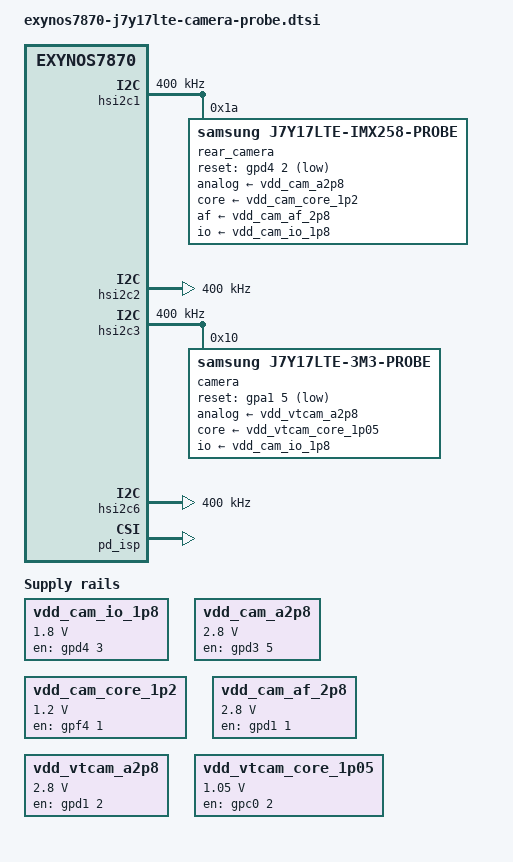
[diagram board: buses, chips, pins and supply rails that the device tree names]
// SPDX-License-Identifier: GPL-2.0-only
/*
 * J7Y17LTE board foundation, reviewed against downstream commit
 * 117a2f271e0f2db2d8743d4a4ec77a8a9876cf82.
 * Experimental board qualification, initially no streaming.
 */

/ {
	vdd_cam_io_1p8: regulator-camera-io {
		compatible = "regulator-fixed";
		regulator-name = "VDD_CAM_IO_1P8";
		regulator-min-microvolt = <1800000>;
		regulator-max-microvolt = <1800000>;
		gpio = <&gpd4 3 GPIO_ACTIVE_HIGH>;
		enable-active-high;
	};

	vdd_cam_a2p8: regulator-camera-rear-analog {
		compatible = "regulator-fixed";
		regulator-name = "VDD_CAM_SENSOR_A2P8";
		regulator-min-microvolt = <2800000>;
		regulator-max-microvolt = <2800000>;
		gpio = <&gpd3 5 GPIO_ACTIVE_HIGH>;
		enable-active-high;
	};

	vdd_cam_core_1p2: regulator-camera-rear-core {
		compatible = "regulator-fixed";
		regulator-name = "VDD_CAM_1P2";
		regulator-min-microvolt = <1200000>;
		regulator-max-microvolt = <1200000>;
		gpio = <&gpf4 1 GPIO_ACTIVE_HIGH>;
		enable-active-high;
	};

	vdd_cam_af_2p8: regulator-camera-autofocus {
		compatible = "regulator-fixed";
		regulator-name = "VDD_CAM_AF_2P8";
		regulator-min-microvolt = <2800000>;
		regulator-max-microvolt = <2800000>;
		gpio = <&gpd1 1 GPIO_ACTIVE_HIGH>;
		enable-active-high;
	};

	vdd_vtcam_a2p8: regulator-camera-front-analog {
		compatible = "regulator-fixed";
		regulator-name = "VDD_VTCAM_A2P8";
		regulator-min-microvolt = <2800000>;
		regulator-max-microvolt = <2800000>;
		gpio = <&gpd1 2 GPIO_ACTIVE_HIGH>;
		enable-active-high;
	};

	vdd_vtcam_core_1p05: regulator-camera-front-core {
		compatible = "regulator-fixed";
		regulator-name = "VDD_VTCAM_1P05";
		regulator-min-microvolt = <1050000>;
		regulator-max-microvolt = <1050000>;
		gpio = <&gpc0 2 GPIO_ACTIVE_HIGH>;
		enable-active-high;
	};
};

/* Physical controller addresses, not downstream numeric aliases. */
&hsi2c1 { /* 0x138a0000: rear IMX258 at 0x1a */
	clock-frequency = <400000>;
	status = "okay";
};

&hsi2c2 { /* 0x138b0000: DW9807 at 0x0c, rear EEPROM at 0x58 */
	clock-frequency = <400000>;
	status = "okay";
};

&hsi2c3 { /* 0x138c0000: front S5K3M3 at 0x10 */
	clock-frequency = <400000>;
	status = "okay";
};

&hsi2c6 { /* 0x13960000: front EEPROM at 0x51 */
	clock-frequency = <400000>;
	status = "okay";
};

&hsi2c1 {
	rear_camera: camera@1a {
		compatible = "samsung,j7y17lte-imx258-probe";
		reg = <0x1a>;
		reset-gpios = <&gpd4 2 GPIO_ACTIVE_LOW>;
		analog-supply = <&vdd_cam_a2p8>;
		core-supply = <&vdd_cam_core_1p2>;
		af-supply = <&vdd_cam_af_2p8>;
		focus-i2c = <&hsi2c2>;
		io-supply = <&vdd_cam_io_1p8>;
		clocks = <&cmu_mif CLK_GOUT_MIF_CMU_ISP_SENSOR0>;
		assigned-clocks = <&cmu_mif CLK_MOUT_MIF_CMU_ISP_SENSOR0>,
				  <&cmu_mif CLK_DOUT_MIF_CMU_ISP_SENSOR0>;
		assigned-clock-parents = <&oscclk>, <0>;
		assigned-clock-rates = <0>, <26000000>;
		pinctrl-names = "default", "active";
		pinctrl-0 = <&fimc_is_mclk0_in>;
		pinctrl-1 = <&fimc_is_mclk0_fn>;
	};
};

&hsi2c3 {
	camera@10 {
		compatible = "samsung,j7y17lte-3m3-probe";
		reg = <0x10>;
		reset-gpios = <&gpa1 5 GPIO_ACTIVE_LOW>;
		analog-supply = <&vdd_vtcam_a2p8>;
		core-supply = <&vdd_vtcam_core_1p05>;
		io-supply = <&vdd_cam_io_1p8>;
		clocks = <&cmu_mif CLK_GOUT_MIF_CMU_ISP_SENSOR1>;
		assigned-clocks = <&cmu_mif CLK_MOUT_MIF_CMU_ISP_SENSOR1>,
				  <&cmu_mif CLK_DOUT_MIF_CMU_ISP_SENSOR1>;
		assigned-clock-parents = <&oscclk>, <0>;
		assigned-clock-rates = <0>, <26000000>;
		pinctrl-names = "default", "active";
		pinctrl-0 = <&fimc_is_mclk1_in>;
		pinctrl-1 = <&fimc_is_mclk1_fn>;
	};
};

/* One shared ISP/CAM/VRA domain with managed CMU save/restore. */
&{/soc@0} {
	pd_isp: power-domain@10484040 {
		compatible = "samsung,exynos7870-isp-pd";
		reg = <0x10484040 0x20>;
		#power-domain-cells = <0>;
		label = "ISP";
		samsung,pmu = <&pmu_system_controller>;
		clocks = <&cmu_mif CLK_GOUT_MIF_CMU_ISP_CAM>,
			 <&cmu_mif CLK_GOUT_MIF_CMU_ISP_ISP>,
			 <&cmu_mif CLK_GOUT_MIF_CMU_ISP_VRA>;
		clock-names = "cam", "isp", "vra";
	};

	/* The two CSIS writers share this single translation unit. */
	sysmmu_camera: iommu@14470000 {
		compatible = "samsung,exynos-sysmmu";
		reg = <0x14470000 0x1000>;
		interrupts = <GIC_SPI 128 IRQ_TYPE_LEVEL_HIGH>;
		#iommu-cells = <0>;
		power-domains = <&pd_isp>;
		clocks = <&cmu_isp CLK_GOUT_ISP_ISPD>,
			 <&cmu_isp CLK_GOUT_ISP_CAM>,
			 <&cmu_isp CLK_GOUT_ISP_ISPD_PPMU>,
			 <&cmu_isp CLK_GOUT_ISP_APB>;
		clock-names = "sysmmu", "master", "ppmu", "pclk";
	};


	sysmmu_isp1: iommu@14490000 {
		compatible = "samsung,exynos-sysmmu";
		reg = <0x14490000 0x1000>;
		interrupts = <GIC_SPI 131 IRQ_TYPE_LEVEL_HIGH>;
		#iommu-cells = <0>;
		power-domains = <&pd_isp>;
		clocks = <&cmu_isp CLK_GOUT_ISP_ISPD>,
			 <&cmu_isp CLK_GOUT_ISP_MUX_ISP>,
			 <&cmu_isp CLK_GOUT_ISP_ISPD_PPMU>,
			 <&cmu_isp CLK_GOUT_ISP_APB>;
		clock-names = "sysmmu", "master", "ppmu", "pclk";
	};

	sysmmu_isp2: iommu@144a0000 {
		compatible = "samsung,exynos-sysmmu";
		reg = <0x144a0000 0x1000>;
		interrupts = <GIC_SPI 134 IRQ_TYPE_LEVEL_HIGH>;
		#iommu-cells = <0>;
		power-domains = <&pd_isp>;
		clocks = <&cmu_isp CLK_GOUT_ISP_ISPD>,
			 <&cmu_isp CLK_GOUT_ISP_MUX_ISP>,
			 <&cmu_isp CLK_GOUT_ISP_ISPD_PPMU>,
			 <&cmu_isp CLK_GOUT_ISP_APB>;
		clock-names = "sysmmu", "master", "ppmu", "pclk";
	};

	/* Vendor processing clients share both translation units in one domain. */
	isp_processing: isp@14400000 {
		compatible = "samsung,exynos7870-isp";
		reg = <0x14400000 0x10000>, <0x14480000 0x10000>;
		reg-names = "isp", "isp-b";
		iommus = <&sysmmu_isp1>, <&sysmmu_isp2>;
		power-domains = <&pd_isp>;
		clocks = <&cmu_isp CLK_GOUT_ISP_ISPD_PPMU>,
			 <&cmu_isp CLK_GOUT_ISP_ISPD>,
			 <&cmu_isp CLK_GOUT_ISP_MUX_ISP>,
			 <&cmu_isp CLK_GOUT_ISP_CAM>,
			 <&cmu_isp CLK_GOUT_ISP_CAM_HALF>,
			 <&cmu_isp CLK_GOUT_ISP_APB>;
		clock-names = "ispd-ppmu", "ispd", "isp", "cam", "cam-half", "apb";
	};

	camera_fe: camera@14420000 {
		compatible = "samsung,exynos7870-camera-fe";
		reg = <0x14420000 0x10000>, <0x14460000 0x10000>;
		reg-names = "csis0", "csis1";
		iommus = <&sysmmu_camera>;
		interrupts = <GIC_SPI 144 IRQ_TYPE_LEVEL_HIGH>;
		phys = <&mipi_phy 0>;
		phy-names = "csis0";
		samsung,rear-sensor = <&rear_camera>;
		power-domains = <&pd_isp>;
		clocks = <&cmu_isp CLK_GOUT_ISP_ISPD_PPMU>,
			 <&cmu_isp CLK_GOUT_ISP_ISPD>,
			 <&cmu_isp CLK_GOUT_ISP_CAM>,
			 <&cmu_isp CLK_GOUT_ISP_CAM_HALF>,
			 <&cmu_isp CLK_GOUT_ISP_APB>,
			 <&cmu_isp CLK_GOUT_ISP_MUX_RXBYTECLKHS0_SENSOR0_USER>;
		clock-names = "ispd-ppmu", "ispd", "cam", "cam-half", "apb", "rxbyte0";
	};
};

&cmu_isp {
	power-domains = <&pd_isp>;
};

/* Native DECON is disabled; simplefb retains the bootloader display. */
&sysmmu_decon {
	status = "disabled";
};
